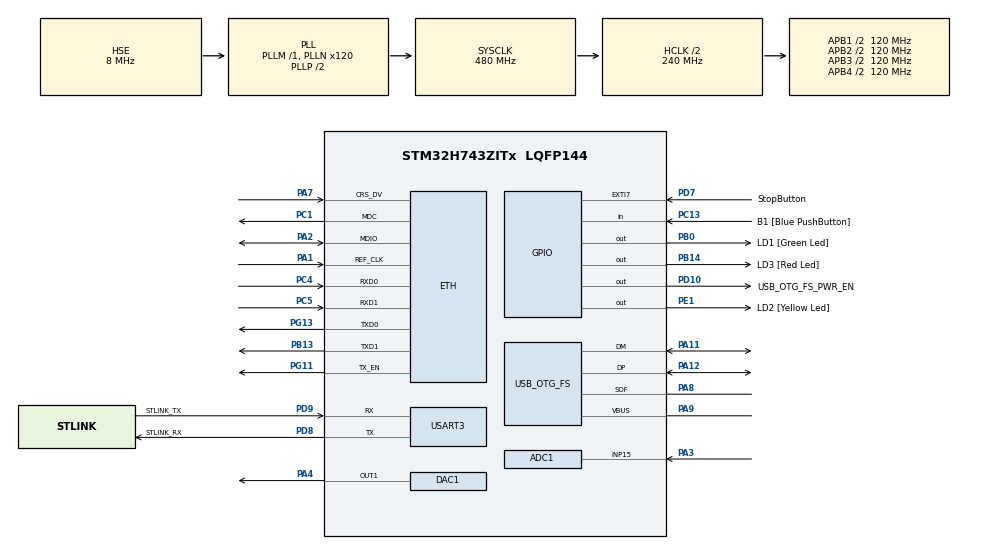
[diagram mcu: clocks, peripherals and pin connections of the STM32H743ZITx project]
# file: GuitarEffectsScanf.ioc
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ADC1.Channel-0\#ChannelRegularConversion=ADC_CHANNEL_15
ADC1.ConversionDataManagement=ADC_CONVERSIONDATA_DMA_CIRCULAR
ADC1.ExternalTrigConv=ADC_EXTERNALTRIG_T1_TRGO
ADC1.NbrOfConversionFlag=1
ADC1.OffsetNumber-0\#ChannelRegularConversion=ADC_OFFSET_NONE
ADC1.OffsetSignedSaturation-0\#ChannelRegularConversion=DISABLE
ADC1.Rank-0\#ChannelRegularConversion=1
ADC1.Resolution=ADC_RESOLUTION_12B
ADC1.SamplingTime-0\#ChannelRegularConversion=ADC_SAMPLETIME_1CYCLE_5
ADC1.master=1
DAC1.DAC_Trigger-DAC_OUT1=DAC_TRIGGER_T1_TRGO
Dma.ADC1.1.Direction=DMA_PERIPH_TO_MEMORY
Dma.ADC1.1.EventEnable=DISABLE
Dma.ADC1.1.FIFOMode=DMA_FIFOMODE_DISABLE
Dma.ADC1.1.Instance=DMA1_Stream1
Dma.ADC1.1.MemDataAlignment=DMA_MDATAALIGN_WORD
Dma.ADC1.1.MemInc=DMA_MINC_ENABLE
Dma.ADC1.1.Mode=DMA_CIRCULAR
Dma.ADC1.1.PeriphDataAlignment=DMA_PDATAALIGN_WORD
Dma.ADC1.1.PeriphInc=DMA_PINC_DISABLE
Dma.ADC1.1.Polarity=HAL_DMAMUX_REQ_GEN_RISING
Dma.ADC1.1.Priority=DMA_PRIORITY_LOW
Dma.ADC1.1.RequestNumber=1
Dma.ADC1.1.SignalID=NONE
Dma.ADC1.1.SyncEnable=DISABLE
Dma.ADC1.1.SyncPolarity=HAL_DMAMUX_SYNC_NO_EVENT
Dma.ADC1.1.SyncRequestNumber=1
Dma.ADC1.1.SyncSignalID=NONE
Dma.DAC1_CH1.2.Direction=DMA_MEMORY_TO_PERIPH
Dma.DAC1_CH1.2.EventEnable=DISABLE
Dma.DAC1_CH1.2.FIFOMode=DMA_FIFOMODE_DISABLE
Dma.DAC1_CH1.2.Instance=DMA1_Stream2
Dma.DAC1_CH1.2.MemDataAlignment=DMA_MDATAALIGN_WORD
Dma.DAC1_CH1.2.MemInc=DMA_MINC_ENABLE
Dma.DAC1_CH1.2.Mode=DMA_CIRCULAR
Dma.DAC1_CH1.2.PeriphDataAlignment=DMA_PDATAALIGN_WORD
Dma.DAC1_CH1.2.PeriphInc=DMA_PINC_DISABLE
Dma.DAC1_CH1.2.Polarity=HAL_DMAMUX_REQ_GEN_RISING
Dma.DAC1_CH1.2.Priority=DMA_PRIORITY_LOW
Dma.DAC1_CH1.2.RequestNumber=1
Dma.DAC1_CH1.2.SignalID=NONE
Dma.DAC1_CH1.2.SyncEnable=DISABLE
Dma.DAC1_CH1.2.SyncPolarity=HAL_DMAMUX_SYNC_NO_EVENT
Dma.DAC1_CH1.2.SyncRequestNumber=1
Dma.DAC1_CH1.2.SyncSignalID=NONE
Dma.Request0=USART3_RX
Dma.Request1=ADC1
Dma.Request2=DAC1_CH1
Dma.USART3_RX.0.Direction=DMA_PERIPH_TO_MEMORY
Dma.USART3_RX.0.EventEnable=DISABLE
Dma.USART3_RX.0.FIFOMode=DMA_FIFOMODE_DISABLE
Dma.USART3_RX.0.Instance=DMA1_Stream0
Dma.USART3_RX.0.MemDataAlignment=DMA_MDATAALIGN_BYTE
Dma.USART3_RX.0.MemInc=DMA_MINC_ENABLE
Dma.USART3_RX.0.Mode=DMA_CIRCULAR
Dma.USART3_RX.0.PeriphDataAlignment=DMA_PDATAALIGN_BYTE
Dma.USART3_RX.0.PeriphInc=DMA_PINC_DISABLE
Dma.USART3_RX.0.Polarity=HAL_DMAMUX_REQ_GEN_RISING
Dma.USART3_RX.0.Priority=DMA_PRIORITY_LOW
Dma.USART3_RX.0.RequestNumber=1
Dma.USART3_RX.0.SignalID=NONE
Dma.USART3_RX.0.SyncEnable=DISABLE
Dma.USART3_RX.0.SyncPolarity=HAL_DMAMUX_SYNC_NO_EVENT
Dma.USART3_RX.0.SyncRequestNumber=1
Dma.USART3_RX.0.SyncSignalID=NONE
ETH.MediaInterface=HAL_ETH_RMII_MODE
Mcu.Family=STM32H7
Mcu.Name=STM32H743ZITx
Mcu.Package=LQFP144
NVIC.DMA1_Stream0_IRQn=true\:0\:0\:false\:false\:true\:false\:true
NVIC.DMA1_Stream1_IRQn=true\:0\:0\:false\:false\:true\:false\:true
NVIC.DMA1_Stream2_IRQn=true\:0\:0\:false\:false\:true\:false\:true
NVIC.EXTI9_5_IRQn=true\:0\:0\:false\:false\:true\:true\:true
NVIC.PriorityGroup=NVIC_PRIORITYGROUP_4
NVIC.USART3_IRQn=true\:0\:0\:false\:false\:true\:true\:true
PA1.Mode=RMII
PA1.Signal=ETH_REF_CLK
PA11.Mode=Device_Only
PA11.Signal=USB_OTG_FS_DM
PA12.Mode=Device_Only
PA12.Signal=USB_OTG_FS_DP
PA2.Mode=RMII
PA2.Signal=ETH_MDIO
PA3.Signal=ADCx_INP15
PA4.Signal=COMP_DAC11_group
PA7.Mode=RMII
PA7.Signal=ETH_CRS_DV
PA8.Mode=Activate_SOF_FS
PA8.Signal=USB_OTG_FS_SOF
PA9.Mode=Activate_VBUS
PA9.Signal=USB_OTG_FS_VBUS
PB0.GPIO_Label=LD1 [Green Led]
PB0.Signal=GPIO_Output
PB13.Mode=RMII
PB13.Signal=ETH_TXD1
PB14.GPIO_Label=LD3 [Red Led]
PB14.Signal=GPIO_Output
PC1.Mode=RMII
PC1.Signal=ETH_MDC
PC13.GPIO_Label=B1 [Blue PushButton]
PC13.Signal=GPIO_Input
PC14-OSC32_IN\ (OSC32_IN).Mode=LSE-External-Oscillator
PC14-OSC32_IN\ (OSC32_IN).Signal=RCC_OSC32_IN
PC15-OSC32_OUT\ (OSC32_OUT).Mode=LSE-External-Oscillator
PC15-OSC32_OUT\ (OSC32_OUT).Signal=RCC_OSC32_OUT
PC4.Mode=RMII
PC4.Signal=ETH_RXD0
PC5.Mode=RMII
PC5.Signal=ETH_RXD1
PD10.GPIO_Label=USB_OTG_FS_PWR_EN
PD10.Signal=GPIO_Output
PD7.GPIO_Label=StopButton
PD7.GPIO_ModeDefaultEXTI=GPIO_MODE_IT_FALLING
PD7.GPIO_PuPd=GPIO_NOPULL
PD7.Signal=GPXTI7
PD8.GPIO_Label=STLINK_RX
PD8.Mode=Asynchronous
PD8.Signal=USART3_TX
PD9.GPIO_Label=STLINK_TX
PD9.Mode=Asynchronous
PD9.Signal=USART3_RX
PE1.GPIO_Label=LD2 [Yellow Led]
PE1.Signal=GPIO_Output
PG11.Mode=RMII
PG11.Signal=ETH_TX_EN
PG13.Mode=RMII
PG13.Signal=ETH_TXD0
PH0-OSC_IN\ (PH0).Mode=HSE-External-Clock-Source
PH0-OSC_IN\ (PH0).Signal=RCC_OSC_IN
PH1-OSC_OUT\ (PH1).Signal=RCC_OSC_OUT
ProjectManager.HeapSize=0x200
ProjectManager.StackSize=0x500
ProjectManager.TargetToolchain=STM32CubeIDE
RCC.ADCFreq_Value=150000000
RCC.APB1Freq_Value=120000000
RCC.APB2Freq_Value=120000000
RCC.APB3Freq_Value=120000000
RCC.APB4Freq_Value=120000000
RCC.CortexFreq_Value=480000000
RCC.D1PPRE=RCC_APB3_DIV2
RCC.D2PPRE1=RCC_APB1_DIV2
RCC.D2PPRE2=RCC_APB2_DIV2
RCC.D3PPRE=RCC_APB4_DIV2
RCC.DIVM1=1
RCC.DIVM2=1
RCC.DIVN1=120
RCC.DIVN2=18
RCC.DIVP2=1
RCC.DIVQ1=20
RCC.HCLKFreq_Value=240000000
RCC.HPRE=RCC_HCLK_DIV2
RCC.HSE_VALUE=8000000
RCC.PLL2FRACN=6144
RCC.PLL3FRACN=0
RCC.PLLFRACN=0
RCC.SYSCLKFreq_VALUE=480000000
RCC.SYSCLKSource=RCC_SYSCLKSOURCE_PLLCLK
RCC.USBFreq_Value=48000000
SH.ADCx_INP15.0=ADC1_INP15,IN15-Single-Ended
SH.COMP_DAC11_group.0=DAC1_OUT1,DAC_OUT1
TIM1.Period=60000-1
TIM1.TIM_MasterOutputTrigger=TIM_TRGO_UPDATE
USART3.VirtualMode-Asynchronous=VM_ASYNC
USB_OTG_FS.VirtualMode=Device_Only
VP_TIM1_VS_ClockSourceINT.Mode=Internal
board=NUCLEO-H743ZI2

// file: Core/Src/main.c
/* USER CODE BEGIN Header */
/**
  ******************************************************************************
  * @file           : main.c
  * @brief          : Main program body
  ******************************************************************************
  * @attention
  *
  * <h2><center>&copy; Copyright (c) 2021 STMicroelectronics.
  * All rights reserved.</center></h2>
  *
  * This software component is licensed by ST under BSD 3-Clause license,
  * the "License"; You may not use this file except in compliance with the
  * License. You may obtain a copy of the License at:
  *                        opensource.org/licenses/BSD-3-Clause
  *
  ******************************************************************************
  */
/* USER CODE END Header */
#include "main.h"
#include "string.h"

/* USER CODE BEGIN Includes */
#include <stdio.h>
#include <math.h>
/* USER CODE END Includes */

#if defined ( __ICCARM__ ) /*!< IAR Compiler */

#pragma location=0x30040000
ETH_DMADescTypeDef  DMARxDscrTab[ETH_RX_DESC_CNT]; /* Ethernet Rx DMA Descriptors */
#pragma location=0x30040060
ETH_DMADescTypeDef  DMATxDscrTab[ETH_TX_DESC_CNT]; /* Ethernet Tx DMA Descriptors */
#pragma location=0x30040200
uint8_t Rx_Buff[ETH_RX_DESC_CNT][ETH_MAX_PACKET_SIZE]; /* Ethernet Receive Buffers */

#elif defined ( __CC_ARM )  /* MDK ARM Compiler */

__attribute__((at(0x30040000))) ETH_DMADescTypeDef  DMARxDscrTab[ETH_RX_DESC_CNT]; /* Ethernet Rx DMA Descriptors */
__attribute__((at(0x30040060))) ETH_DMADescTypeDef  DMATxDscrTab[ETH_TX_DESC_CNT]; /* Ethernet Tx DMA Descriptors */
__attribute__((at(0x30040200))) uint8_t Rx_Buff[ETH_RX_DESC_CNT][ETH_MAX_PACKET_SIZE]; /* Ethernet Receive Buffer */

#elif defined ( __GNUC__ ) /* GNU Compiler */

ETH_DMADescTypeDef DMARxDscrTab[ETH_RX_DESC_CNT] __attribute__((section(".RxDecripSection"))); /* Ethernet Rx DMA Descriptors */
ETH_DMADescTypeDef DMATxDscrTab[ETH_TX_DESC_CNT] __attribute__((section(".TxDecripSection")));   /* Ethernet Tx DMA Descriptors */
uint8_t Rx_Buff[ETH_RX_DESC_CNT][ETH_MAX_PACKET_SIZE] __attribute__((section(".RxArraySection"))); /* Ethernet Receive Buffers */

#endif

ETH_TxPacketConfig TxConfig;
ADC_HandleTypeDef hadc1;
DMA_HandleTypeDef hdma_adc1;

DAC_HandleTypeDef hdac1;
DMA_HandleTypeDef hdma_dac1_ch1;

ETH_HandleTypeDef heth;

TIM_HandleTypeDef htim1;

UART_HandleTypeDef huart3;
DMA_HandleTypeDef hdma_usart3_rx;

PCD_HandleTypeDef hpcd_USB_OTG_FS;

void SystemClock_Config(void);
static void MX_GPIO_Init(void);
static void MX_DMA_Init(void);
static void MX_ETH_Init(void);
static void MX_USART3_UART_Init(void);
static void MX_USB_OTG_FS_PCD_Init(void);
static void MX_ADC1_Init(void);
static void MX_DAC1_Init(void);
static void MX_TIM1_Init(void);
/* USER CODE BEGIN PFP */
#ifdef __GNUC__
/* With GCC, small printf (option LD Linker->Libraries->Small printf
   set to 'Yes') calls __io_putchar() */
#define PUTCHAR_PROTOTYPE int __io_putchar(int ch)
#else
#define PUTCHAR_PROTOTYPE int fputc(int ch, FILE *f)
#endif /* __GNUC__ */

#ifdef __GNUC__
#define GETCHAR_PROTOTYPE int __io_getchar (void)
#else
#define GETCHAR_PROTOTYPE int fgetc(FILE * f)
#endif /* __GNUC__ */

void Test_Validation_Menu(void);
/* USER CODE END PFP */

/* USER CODE BEGIN 0 */
#define max(a,b) \
  ({ __typeof__ (a) _a = (a); \
      __typeof__ (b) _b = (b); \
    _a > _b ? _a : _b; })

int button_state = 0;
uint32_t* inBufPtr;
uint32_t* outBufPtr;
uint32_t* delayPtr;
uint32_t* delayPtrWrite;
uint32_t* delayPtrRead;
#define DataSize 512
#define BufferSize DataSize*2
#define PI 3.141592653589793238
volatile int ADCbuff_Half = 0;
volatile int ADCbuff_Full = 0;
volatile int DACbuff_Half = 0;
volatile int DACbuff_Full = 0;
volatile int DelayState = 0;

uint32_t adc_buff[BufferSize] = {0};
uint32_t dac_buff[BufferSize] = {0};
uint32_t delay_buff[BufferSize*3] = {0};

char name[5] = "START";

void effectfunc(int e1,int e2, int e3, int e4){

	// First Half Buffer
		if(ADCbuff_Half && DACbuff_Half){

			inBufPtr = &adc_buff[0];
			outBufPtr = &dac_buff[DataSize];

			if(DelayState == 0){
				delayPtrRead = &delay_buff[0];
				delayPtrWrite= &delay_buff[2*BufferSize];
			}
			else if (DelayState == 1){
				delayPtrRead = &delay_buff[BufferSize];
				delayPtrWrite= &delay_buff[0];
			}
			else if(DelayState == 2){
				delayPtrRead = &delay_buff[(2*BufferSize)];
				delayPtrWrite= &delay_buff[BufferSize];
			}

			ADCbuff_Half = 0;
			DACbuff_Half = 0;
		}
		// Second Half Buffer
		else if(ADCbuff_Full && DACbuff_Full){
			inBufPtr = &adc_buff[DataSize];
			outBufPtr = &dac_buff[0];

			if(DelayState == 0){
				delayPtrRead = &delay_buff[DataSize];
				delayPtrWrite= &delay_buff[2*BufferSize+DataSize];
			}
			else if (DelayState == 1){
				delayPtrRead = &delay_buff[BufferSize+DataSize];
				delayPtrWrite= &delay_buff[DataSize];
			}
			else if (DelayState == 2){
				delayPtrRead = &delay_buff[(2*BufferSize+DataSize)];
				delayPtrWrite= &delay_buff[BufferSize+DataSize];
			}

			ADCbuff_Full = 0;
			DACbuff_Full = 0;
		}

		for(int i = 0; i < DataSize; i++){
			// Clean
			outBufPtr[i] = inBufPtr[i]*1.05;

			// Distortion
			if(e4){
				//outBufPtr[i] = 1;
				//for(int idx = 0; idx < 20; idx++){
				//	outBufPtr[i] += ((pow((-sgn_func(outBufPtr[i])*0.1*outBufPtr[i]), idx))/factorial_func(idx));
				//}
				outBufPtr[i] = 0.1*(sgn_func(outBufPtr[i]) * (1 - exp(sgn_func(0.1*outBufPtr[i])*outBufPtr[i])));
			}

			// Tremolo
			if(e1){
				outBufPtr[i] = max(0,sin(2*PI*i/1024))*outBufPtr[i];
			}

			if( !e3 && ((e2 && e1)||(e2 && e4) || (e2)) ){
				delayPtrWrite[i] = outBufPtr[i];
			}

			// Delay
			if(e2 || e3){
				outBufPtr[i] = 0.75*outBufPtr[i] + 0.5*delayPtrRead[i];
			}

			if ((e2 && e3) || e3){
				delayPtrWrite[i] = outBufPtr[i];
			}

		}

}
void tremolo(){
	// First Half
	if(ADCbuff_Half && DACbuff_Half){
		//pointer math
		inBufPtr = &adc_buff[0];
		outBufPtr = &dac_buff[DataSize];
		for(int i = 0; i < DataSize; i++){
			outBufPtr[i] = max(0,sin(2*PI*i/512))*inBufPtr[i];
		}
		ADCbuff_Half = 0;
		DACbuff_Half = 0;
	}
	// Second Half
	else if(ADCbuff_Full && DACbuff_Full){
		// pointer math
		inBufPtr = &adc_buff[DataSize];
		outBufPtr = &dac_buff[0];

		for(int i = 0; i < DataSize; i++){
		outBufPtr[i] = max(0,sin(2*PI*i/512))*inBufPtr[i];
		}
		ADCbuff_Full = 0;
		DACbuff_Full = 0;
	}

}

void clean(){
	// First Half
	if(ADCbuff_Half && DACbuff_Half){
		//pointer math
		inBufPtr = &adc_buff[0];
		outBufPtr = &dac_buff[DataSize];
		for(int i = 0; i < DataSize; i++){
			outBufPtr[i] = inBufPtr[i];
		}
		ADCbuff_Half = 0;
		DACbuff_Half = 0;
	}
	// Second Half
	else if(ADCbuff_Full && DACbuff_Full){
		// pointer math
		inBufPtr = &adc_buff[DataSize];
		outBufPtr = &dac_buff[0];

		for(int i = 0; i < DataSize; i++){
		outBufPtr[i] = inBufPtr[i];
		}
		ADCbuff_Full = 0;
		DACbuff_Full = 0;

	}
}
void distortion_exp(){
	int G = 0.7;
	double low_gain = 1.05;
	double hi_gain = 1.35;
	double hithresh = 2200;
	double lowthresh  = 1850;

	if(ADCbuff_Half && DACbuff_Half){
			//pointer math
			inBufPtr = &adc_buff[0];
			outBufPtr = &dac_buff[DataSize];
			for(int i = 0; i < DataSize; i++)
				{
					if(adc_buff[i] < lowthresh)
						outBufPtr[i] = hi_gain*inBufPtr[i];
					else if(adc_buff[i] > hithresh)
						outBufPtr[i] = inBufPtr[i];
					else
						outBufPtr[i] = low_gain*inBufPtr[i];

				}
			ADCbuff_Half = 0;
			DACbuff_Half = 0;
		}
		// Second Half
		else if(ADCbuff_Full && DACbuff_Full){
			// pointer math
			inBufPtr = &adc_buff[DataSize];
			outBufPtr = &dac_buff[0];

			for(int i = 0; i < DataSize; i++)
				{
					if(adc_buff[i] < lowthresh)
						outBufPtr[i] = hi_gain*inBufPtr[i]*0.5;
					else if(adc_buff[i] > hithresh)
						outBufPtr[i] = inBufPtr[i];
					else
						outBufPtr[i] = low_gain*inBufPtr[i];

				}
			ADCbuff_Full = 0;
			DACbuff_Full = 0;

		}

}
void delay(){

	// First Half Buffer
	if(ADCbuff_Half && DACbuff_Half){

		inBufPtr = &adc_buff[0];
		outBufPtr = &dac_buff[DataSize];

		if(DelayState == 0){
			delayPtrRead = &delay_buff[0];
			delayPtrWrite= &delay_buff[2*BufferSize];
		}
		else if (DelayState == 1){
			delayPtrRead = &delay_buff[BufferSize];
			delayPtrWrite= &delay_buff[0];
		}
		else if(DelayState == 2){
			delayPtrRead = &delay_buff[(2*BufferSize)];
			delayPtrWrite= &delay_buff[BufferSize];
		}

		for(int i = 0; i < DataSize; i++){
			delayPtrWrite[i] = outBufPtr[i];
			outBufPtr[i] = 0.75*inBufPtr[i] + 0.5*delayPtrRead[i];//+ 0.6*delayPtr[i]+ 0.45*delayPtrHalf[i];
		}

		ADCbuff_Half = 0;
		DACbuff_Half = 0;
	}
	// Second Half Buffer
	else if(ADCbuff_Full && DACbuff_Full){
		inBufPtr = &adc_buff[DataSize];
		outBufPtr = &dac_buff[0];

		if(DelayState == 0){
			delayPtrRead = &delay_buff[DataSize];
			delayPtrWrite= &delay_buff[2*BufferSize+DataSize];
		}
		else if (DelayState == 1){
			delayPtrRead = &delay_buff[BufferSize+DataSize];
			delayPtrWrite= &delay_buff[DataSize];
		}
		else if (DelayState == 2){
			delayPtrRead = &delay_buff[(2*BufferSize+DataSize)];
			delayPtrWrite= &delay_buff[BufferSize+DataSize];
		}

		for(int i = 0; i < DataSize; i++){
			delayPtrWrite[i] = outBufPtr[i];
			outBufPtr[i] = 0.75*inBufPtr[i] + 0.5*delayPtrRead[i];
		}

		ADCbuff_Full = 0;
		DACbuff_Full = 0;
	}

}

int sgn_func(uint32_t val) {
    return (2550 < val) - (val < 2550);
}
int factorial_func(int n)
{
    if (n == 0)
        return 1;
    return n * factorial_func(n - 1);
}

/* USER CODE END 0 */

int main(void)
{

  /* MCU Configuration--------------------------------------------------------*/

  /* Reset of all peripherals, Initializes the Flash interface and the Systick. */
  HAL_Init();

  /* Configure the system clock */
  SystemClock_Config();

  /* Initialize all configured peripherals */
  MX_GPIO_Init();
  MX_DMA_Init();
  MX_ETH_Init();
  MX_USART3_UART_Init();
  MX_USB_OTG_FS_PCD_Init();
  MX_ADC1_Init();
  MX_DAC1_Init();
  MX_TIM1_Init();
  /* USER CODE BEGIN 2 */

  fflush(stdout);
  printf("\r\n");
  printf("\r\n*********************************************\r\n");
  printf("\r\n** EE 113 Design: Guitar Effects Processor **\r\n");
  printf("\r\n*********************************************\r\n");

  printf("\r\n");

  printf("\r\n    ** Press s to Start!!! \r\n");
  while (name[0] != 's')
  	  {
        Serial_Scanf(name, 1);
        if (name[0] != 's')
          {
          printf("\r\n !!! Invalid Character, please press s to Start !!! \r\n");
          }
      }
  Menu();

  printf("\r\n");
  printf("\r\n********************************************");
  printf("\r\n** Thank you for using Guitar Effects Processor By Edward and Nick **");
  printf("\r\n********************************************\r\n");
  /* USER CODE END 2 */

  /* Infinite loop */
  while (1)
  {

  }
}

void SystemClock_Config(void)
{
  RCC_OscInitTypeDef RCC_OscInitStruct = {0};
  RCC_ClkInitTypeDef RCC_ClkInitStruct = {0};
  RCC_PeriphCLKInitTypeDef PeriphClkInitStruct = {0};

  /** Supply configuration update enable
  */
  HAL_PWREx_ConfigSupply(PWR_LDO_SUPPLY);
  /** Configure the main internal regulator output voltage
  */
  __HAL_PWR_VOLTAGESCALING_CONFIG(PWR_REGULATOR_VOLTAGE_SCALE0);

  while(!__HAL_PWR_GET_FLAG(PWR_FLAG_VOSRDY)) {}
  /** Macro to configure the PLL clock source
  */
  __HAL_RCC_PLL_PLLSOURCE_CONFIG(RCC_PLLSOURCE_HSE);
  /** Initializes the RCC Oscillators according to the specified parameters
  * in the RCC_OscInitTypeDef structure.
  */
  RCC_OscInitStruct.OscillatorType = RCC_OSCILLATORTYPE_HSE;
  RCC_OscInitStruct.HSEState = RCC_HSE_BYPASS;
  RCC_OscInitStruct.PLL.PLLState = RCC_PLL_ON;
  RCC_OscInitStruct.PLL.PLLSource = RCC_PLLSOURCE_HSE;
  RCC_OscInitStruct.PLL.PLLM = 1;
  RCC_OscInitStruct.PLL.PLLN = 120;
  RCC_OscInitStruct.PLL.PLLP = 2;
  RCC_OscInitStruct.PLL.PLLQ = 20;
  RCC_OscInitStruct.PLL.PLLR = 2;
  RCC_OscInitStruct.PLL.PLLRGE = RCC_PLL1VCIRANGE_3;
  RCC_OscInitStruct.PLL.PLLVCOSEL = RCC_PLL1VCOWIDE;
  RCC_OscInitStruct.PLL.PLLFRACN = 0;
  if (HAL_RCC_OscConfig(&RCC_OscInitStruct) != HAL_OK)
  {
    Error_Handler();
  }
  /** Initializes the CPU, AHB and APB buses clocks
  */
  RCC_ClkInitStruct.ClockType = RCC_CLOCKTYPE_HCLK|RCC_CLOCKTYPE_SYSCLK
                              |RCC_CLOCKTYPE_PCLK1|RCC_CLOCKTYPE_PCLK2
                              |RCC_CLOCKTYPE_D3PCLK1|RCC_CLOCKTYPE_D1PCLK1;
  RCC_ClkInitStruct.SYSCLKSource = RCC_SYSCLKSOURCE_PLLCLK;
  RCC_ClkInitStruct.SYSCLKDivider = RCC_SYSCLK_DIV1;
  RCC_ClkInitStruct.AHBCLKDivider = RCC_HCLK_DIV2;
  RCC_ClkInitStruct.APB3CLKDivider = RCC_APB3_DIV2;
  RCC_ClkInitStruct.APB1CLKDivider = RCC_APB1_DIV2;
  RCC_ClkInitStruct.APB2CLKDivider = RCC_APB2_DIV2;
  RCC_ClkInitStruct.APB4CLKDivider = RCC_APB4_DIV2;

  if (HAL_RCC_ClockConfig(&RCC_ClkInitStruct, FLASH_LATENCY_4) != HAL_OK)
  {
    Error_Handler();
  }
  PeriphClkInitStruct.PeriphClockSelection = RCC_PERIPHCLK_USART3|RCC_PERIPHCLK_ADC
                              |RCC_PERIPHCLK_USB;
  PeriphClkInitStruct.PLL2.PLL2M = 1;
  PeriphClkInitStruct.PLL2.PLL2N = 18;
  PeriphClkInitStruct.PLL2.PLL2P = 1;
  PeriphClkInitStruct.PLL2.PLL2Q = 2;
  PeriphClkInitStruct.PLL2.PLL2R = 2;
  PeriphClkInitStruct.PLL2.PLL2RGE = RCC_PLL2VCIRANGE_3;
  PeriphClkInitStruct.PLL2.PLL2VCOSEL = RCC_PLL2VCOMEDIUM;
  PeriphClkInitStruct.PLL2.PLL2FRACN = 6144;
  PeriphClkInitStruct.Usart234578ClockSelection = RCC_USART234578CLKSOURCE_D2PCLK1;
  PeriphClkInitStruct.UsbClockSelection = RCC_USBCLKSOURCE_PLL;
  PeriphClkInitStruct.AdcClockSelection = RCC_ADCCLKSOURCE_PLL2;
  if (HAL_RCCEx_PeriphCLKConfig(&PeriphClkInitStruct) != HAL_OK)
  {
    Error_Handler();
  }
  /** Enable USB Voltage detector
  */
  HAL_PWREx_EnableUSBVoltageDetector();
}

static void MX_ADC1_Init(void)
{

  ADC_MultiModeTypeDef multimode = {0};
  ADC_ChannelConfTypeDef sConfig = {0};

  /** Common config
  */
  hadc1.Instance = ADC1;
  hadc1.Init.ClockPrescaler = ADC_CLOCK_ASYNC_DIV1;
  hadc1.Init.Resolution = ADC_RESOLUTION_12B;
  hadc1.Init.ScanConvMode = ADC_SCAN_DISABLE;
  hadc1.Init.EOCSelection = ADC_EOC_SINGLE_CONV;
  hadc1.Init.LowPowerAutoWait = DISABLE;
  hadc1.Init.ContinuousConvMode = DISABLE;
  hadc1.Init.NbrOfConversion = 1;
  hadc1.Init.DiscontinuousConvMode = DISABLE;
  hadc1.Init.ExternalTrigConv = ADC_EXTERNALTRIG_T1_TRGO;
  hadc1.Init.ExternalTrigConvEdge = ADC_EXTERNALTRIGCONVEDGE_RISING;
  hadc1.Init.ConversionDataManagement = ADC_CONVERSIONDATA_DMA_CIRCULAR;
  hadc1.Init.Overrun = ADC_OVR_DATA_PRESERVED;
  hadc1.Init.LeftBitShift = ADC_LEFTBITSHIFT_NONE;
  hadc1.Init.OversamplingMode = DISABLE;
  if (HAL_ADC_Init(&hadc1) != HAL_OK)
  {
    Error_Handler();
  }
  /** Configure the ADC multi-mode
  */
  multimode.Mode = ADC_MODE_INDEPENDENT;
  if (HAL_ADCEx_MultiModeConfigChannel(&hadc1, &multimode) != HAL_OK)
  {
    Error_Handler();
  }
  /** Configure Regular Channel
  */
  sConfig.Channel = ADC_CHANNEL_15;
  sConfig.Rank = ADC_REGULAR_RANK_1;
  sConfig.SamplingTime = ADC_SAMPLETIME_1CYCLE_5;
  sConfig.SingleDiff = ADC_SINGLE_ENDED;
  sConfig.OffsetNumber = ADC_OFFSET_NONE;
  sConfig.Offset = 0;
  sConfig.OffsetSignedSaturation = DISABLE;
  if (HAL_ADC_ConfigChannel(&hadc1, &sConfig) != HAL_OK)
  {
    Error_Handler();
  }

}

static void MX_DAC1_Init(void)
{

  DAC_ChannelConfTypeDef sConfig = {0};

  /** DAC Initialization
  */
  hdac1.Instance = DAC1;
  if (HAL_DAC_Init(&hdac1) != HAL_OK)
  {
    Error_Handler();
  }
  /** DAC channel OUT1 config
  */
  sConfig.DAC_SampleAndHold = DAC_SAMPLEANDHOLD_DISABLE;
  sConfig.DAC_Trigger = DAC_TRIGGER_T1_TRGO;
  sConfig.DAC_OutputBuffer = DAC_OUTPUTBUFFER_ENABLE;
  sConfig.DAC_ConnectOnChipPeripheral = DAC_CHIPCONNECT_DISABLE;
  sConfig.DAC_UserTrimming = DAC_TRIMMING_FACTORY;
  if (HAL_DAC_ConfigChannel(&hdac1, &sConfig, DAC_CHANNEL_1) != HAL_OK)
  {
    Error_Handler();
  }

}

static void MX_ETH_Init(void)
{

  heth.Instance = ETH;
  heth.Init.MACAddr[0] =   0x00;
  heth.Init.MACAddr[1] =   0x80;
  heth.Init.MACAddr[2] =   0xE1;
  heth.Init.MACAddr[3] =   0x00;
  heth.Init.MACAddr[4] =   0x00;
  heth.Init.MACAddr[5] =   0x00;
  heth.Init.MediaInterface = HAL_ETH_RMII_MODE;
  heth.Init.TxDesc = DMATxDscrTab;
  heth.Init.RxDesc = DMARxDscrTab;
  heth.Init.RxBuffLen = 1524;

  if (HAL_ETH_Init(&heth) != HAL_OK)
  {
    Error_Handler();
  }

  memset(&TxConfig, 0 , sizeof(ETH_TxPacketConfig));
  TxConfig.Attributes = ETH_TX_PACKETS_FEATURES_CSUM | ETH_TX_PACKETS_FEATURES_CRCPAD;
  TxConfig.ChecksumCtrl = ETH_CHECKSUM_IPHDR_PAYLOAD_INSERT_PHDR_CALC;
  TxConfig.CRCPadCtrl = ETH_CRC_PAD_INSERT;

}

static void MX_TIM1_Init(void)
{

  TIM_ClockConfigTypeDef sClockSourceConfig = {0};
  TIM_MasterConfigTypeDef sMasterConfig = {0};

  htim1.Instance = TIM1;
  htim1.Init.Prescaler = 0;
  htim1.Init.CounterMode = TIM_COUNTERMODE_UP;
  htim1.Init.Period = 60000-1;
  htim1.Init.ClockDivision = TIM_CLOCKDIVISION_DIV1;
  htim1.Init.RepetitionCounter = 0;
  htim1.Init.AutoReloadPreload = TIM_AUTORELOAD_PRELOAD_DISABLE;
  if (HAL_TIM_Base_Init(&htim1) != HAL_OK)
  {
    Error_Handler();
  }
  sClockSourceConfig.ClockSource = TIM_CLOCKSOURCE_INTERNAL;
  if (HAL_TIM_ConfigClockSource(&htim1, &sClockSourceConfig) != HAL_OK)
  {
    Error_Handler();
  }
  sMasterConfig.MasterOutputTrigger = TIM_TRGO_UPDATE;
  sMasterConfig.MasterOutputTrigger2 = TIM_TRGO2_RESET;
  sMasterConfig.MasterSlaveMode = TIM_MASTERSLAVEMODE_DISABLE;
  if (HAL_TIMEx_MasterConfigSynchronization(&htim1, &sMasterConfig) != HAL_OK)
  {
    Error_Handler();
  }

}

static void MX_USART3_UART_Init(void)
{

  huart3.Instance = USART3;
  huart3.Init.BaudRate = 115200;
  huart3.Init.WordLength = UART_WORDLENGTH_8B;
  huart3.Init.StopBits = UART_STOPBITS_1;
  huart3.Init.Parity = UART_PARITY_NONE;
  huart3.Init.Mode = UART_MODE_TX_RX;
  huart3.Init.HwFlowCtl = UART_HWCONTROL_NONE;
  huart3.Init.OverSampling = UART_OVERSAMPLING_16;
  huart3.Init.OneBitSampling = UART_ONE_BIT_SAMPLE_DISABLE;
  huart3.Init.ClockPrescaler = UART_PRESCALER_DIV1;
  huart3.AdvancedInit.AdvFeatureInit = UART_ADVFEATURE_NO_INIT;
  if (HAL_UART_Init(&huart3) != HAL_OK)
  {
    Error_Handler();
  }
  if (HAL_UARTEx_SetTxFifoThreshold(&huart3, UART_TXFIFO_THRESHOLD_1_8) != HAL_OK)
  {
    Error_Handler();
  }
  if (HAL_UARTEx_SetRxFifoThreshold(&huart3, UART_RXFIFO_THRESHOLD_1_8) != HAL_OK)
  {
    Error_Handler();
  }
  if (HAL_UARTEx_DisableFifoMode(&huart3) != HAL_OK)
  {
    Error_Handler();
  }

}

static void MX_USB_OTG_FS_PCD_Init(void)
{

  hpcd_USB_OTG_FS.Instance = USB_OTG_FS;
  hpcd_USB_OTG_FS.Init.dev_endpoints = 9;
  hpcd_USB_OTG_FS.Init.speed = PCD_SPEED_FULL;
  hpcd_USB_OTG_FS.Init.dma_enable = DISABLE;
  hpcd_USB_OTG_FS.Init.phy_itface = PCD_PHY_EMBEDDED;
  hpcd_USB_OTG_FS.Init.Sof_enable = ENABLE;
  hpcd_USB_OTG_FS.Init.low_power_enable = DISABLE;
  hpcd_USB_OTG_FS.Init.lpm_enable = DISABLE;
  hpcd_USB_OTG_FS.Init.battery_charging_enable = ENABLE;
  hpcd_USB_OTG_FS.Init.vbus_sensing_enable = ENABLE;
  hpcd_USB_OTG_FS.Init.use_dedicated_ep1 = DISABLE;
  if (HAL_PCD_Init(&hpcd_USB_OTG_FS) != HAL_OK)
  {
    Error_Handler();
  }

}

static void MX_DMA_Init(void)
{

  /* DMA controller clock enable */
  __HAL_RCC_DMA1_CLK_ENABLE();

  /* DMA interrupt init */
  /* DMA1_Stream0_IRQn interrupt configuration */
  HAL_NVIC_SetPriority(DMA1_Stream0_IRQn, 0, 0);
  HAL_NVIC_EnableIRQ(DMA1_Stream0_IRQn);
  /* DMA1_Stream1_IRQn interrupt configuration */
  HAL_NVIC_SetPriority(DMA1_Stream1_IRQn, 0, 0);
  HAL_NVIC_EnableIRQ(DMA1_Stream1_IRQn);
  /* DMA1_Stream2_IRQn interrupt configuration */
  HAL_NVIC_SetPriority(DMA1_Stream2_IRQn, 0, 0);
  HAL_NVIC_EnableIRQ(DMA1_Stream2_IRQn);

}

static void MX_GPIO_Init(void)
{
  GPIO_InitTypeDef GPIO_InitStruct = {0};

  /* GPIO Ports Clock Enable */
  __HAL_RCC_GPIOC_CLK_ENABLE();
  __HAL_RCC_GPIOH_CLK_ENABLE();
  __HAL_RCC_GPIOA_CLK_ENABLE();
  __HAL_RCC_GPIOB_CLK_ENABLE();
  __HAL_RCC_GPIOD_CLK_ENABLE();
  __HAL_RCC_GPIOG_CLK_ENABLE();
  __HAL_RCC_GPIOE_CLK_ENABLE();

  /*Configure GPIO pin Output Level */
  HAL_GPIO_WritePin(GPIOB, LD1_Pin|LD3_Pin, GPIO_PIN_RESET);

  /*Configure GPIO pin Output Level */
  HAL_GPIO_WritePin(USB_OTG_FS_PWR_EN_GPIO_Port, USB_OTG_FS_PWR_EN_Pin, GPIO_PIN_RESET);

  /*Configure GPIO pin Output Level */
  HAL_GPIO_WritePin(LD2_GPIO_Port, LD2_Pin, GPIO_PIN_RESET);

  /*Configure GPIO pin : B1_Pin */
  GPIO_InitStruct.Pin = B1_Pin;
  GPIO_InitStruct.Mode = GPIO_MODE_INPUT;
  GPIO_InitStruct.Pull = GPIO_NOPULL;
  HAL_GPIO_Init(B1_GPIO_Port, &GPIO_InitStruct);

  /*Configure GPIO pins : LD1_Pin LD3_Pin */
  GPIO_InitStruct.Pin = LD1_Pin|LD3_Pin;
  GPIO_InitStruct.Mode = GPIO_MODE_OUTPUT_PP;
  GPIO_InitStruct.Pull = GPIO_NOPULL;
  GPIO_InitStruct.Speed = GPIO_SPEED_FREQ_LOW;
  HAL_GPIO_Init(GPIOB, &GPIO_InitStruct);

  /*Configure GPIO pin : USB_OTG_FS_PWR_EN_Pin */
  GPIO_InitStruct.Pin = USB_OTG_FS_PWR_EN_Pin;
  GPIO_InitStruct.Mode = GPIO_MODE_OUTPUT_PP;
  GPIO_InitStruct.Pull = GPIO_NOPULL;
  GPIO_InitStruct.Speed = GPIO_SPEED_FREQ_LOW;
  HAL_GPIO_Init(USB_OTG_FS_PWR_EN_GPIO_Port, &GPIO_InitStruct);

  /*Configure GPIO pin : StopButton_Pin */
  GPIO_InitStruct.Pin = StopButton_Pin;
  GPIO_InitStruct.Mode = GPIO_MODE_IT_FALLING;
  GPIO_InitStruct.Pull = GPIO_NOPULL;
  HAL_GPIO_Init(StopButton_GPIO_Port, &GPIO_InitStruct);

  /*Configure GPIO pin : LD2_Pin */
  GPIO_InitStruct.Pin = LD2_Pin;
  GPIO_InitStruct.Mode = GPIO_MODE_OUTPUT_PP;
  GPIO_InitStruct.Pull = GPIO_NOPULL;
  GPIO_InitStruct.Speed = GPIO_SPEED_FREQ_LOW;
  HAL_GPIO_Init(LD2_GPIO_Port, &GPIO_InitStruct);

  /* EXTI interrupt init*/
  HAL_NVIC_SetPriority(EXTI9_5_IRQn, 0, 0);
  HAL_NVIC_EnableIRQ(EXTI9_5_IRQn);

}

/* USER CODE BEGIN 4 */

int Serial_Scanf(char *ptr, int len)
{

  int DataIdx = 0;
  uint8_t thechar;
  thechar= ' ';
  while(thechar!= '\n' && thechar != '\r' && DataIdx<len)
  {
#ifdef __GNUC__
    thechar = __io_getchar();

#else
    thechar = fgetc(NULL);
#endif
  if ( thechar  >= 0xFF)
  {
    printf("\n\r  !!! Please enter a valid ASCII character \n");
    return 0xFF;
  }
  *ptr++ =thechar;
  DataIdx+=1;
  }
  return DataIdx;
}
/**
  * @brief  Retargets the C library printf function to the USART.
  * @param  None
  * @retval None
  */

PUTCHAR_PROTOTYPE
{
  /* Place your implementation of fputc here */
  /* e.g. write a character to the USART3 and Loop until the end of transmission */
  HAL_UART_Transmit(&huart3, (uint8_t *)&ch, 1, 0xFFFF);
  //HAL_Delay(1);
  return ch;
}

GETCHAR_PROTOTYPE
{
  uint8_t ch = 0;
  /* Clear the Overrun flag just before receiving the first character */
  __HAL_UART_CLEAR_OREFLAG(&huart3);
  HAL_Delay(20);

  HAL_UART_Receive(&huart3, (uint8_t *)&ch, 1, 0xFFFF);
  HAL_Delay(20);

  HAL_UART_Transmit(&huart3, (uint8_t *)&ch, 1, 0xFFFF);
  HAL_Delay(20);

  return ch;
}

void Menu(void)
{
  int menu_option = 0;
  uint8_t stop_test = 0;

  char menu_select[5];
  char menu1[] ="1";
  char menu2[] ="2";
  char menu3[] ="3";
  char menu4[] ="4";
  char menu5[] ="5";
  char menu6[] ="6";
  int e1 = 0;
  int e2 = 0;
  int e3 = 0;
  int e4 = 0;

  char menu_init[] ="0";

  if(HAL_ADCEx_Calibration_Start(&hadc1, ADC_CALIB_OFFSET,ADC_SINGLE_ENDED) != HAL_OK){
      	  Error_Handler();
    }
  HAL_TIM_Base_Start(&htim1);
  HAL_ADC_Start_DMA(&hadc1, (uint32_t *) adc_buff, BufferSize) ;
  HAL_DAC_Start_DMA(&hdac1, DAC_CHANNEL_1, (uint32_t*) dac_buff, BufferSize, DAC_ALIGN_12B_R);

  printf("\r\n\r\n   Menu Options:");
  printf("\r\n      1: Tremolo");
  printf("   2: Delay");
  printf("   3: Multi-Delay");
  printf("   4: Distortion");
  printf("   5: Play");
  printf("   6: Exit \r\n");

  do
  {
    strcpy(menu_select, menu_init);
    int menu_option=0;

    menu_option = Serial_Scanf(menu_select,1);

    printf("\r\n\r\n   Menu Options:");
    printf("\r\n      1: Tremolo");
    printf("   2: Single-Delay");
    printf("   3: Multi-Delay");
    printf("   4: Distortion");
    printf("   5: Play");
    printf("   6: Exit \r\n");
/* CASE '1' selected */
    if(strncmp(menu_select, menu1, menu_option) == 0)
    {
        printf("\r\n          ** Tremolo Toggled **\r\n");
        e1 ^= 1;

    }

/* CASE '2' selected */
    else if(strncmp(menu_select, menu2, menu_option) == 0)
    {
        printf("\r\n          ** Single-Delay Toggled **\r\n");
        e2 ^= 1;

    }

/* CASE '3' selected */
    else if(strncmp(menu_select, menu3, menu_option) == 0)
    {
    	printf("\r\n          ** Multi-Delay Toggled **\r\n");
    	e3 ^= 1;

    }
/* CASE '4' selected */
    else if(strncmp(menu_select, menu4, menu_option) == 0)
    {
    	printf("\r\n          ** Distortion Toggled **\r\n");
    	e4 ^= 1;

    }
/* CASE '5' selected */
    else if(strncmp(menu_select, menu5, menu_option) == 0)
    {

    }

/* CASE 'Exit' selected */
    else if(strncmp(menu_select, menu6, menu_option) == 0)
    {
        printf("\n\r          >> Effect processor shutdown. <<\n\r");
        stop_test=1;
    }

/* CASE wrong selection */
    else
    {
        printf("\r\n                !! INVALID CHOICE\r\n");
    }

    printf("\r\n");
    printf("\r\nSettings:      Tremolo: %d",e1);
    printf("   Single-Delay: %d",e2);
    printf("   Multi-Delay: %d",e3);
    printf("   Distortion: %d\r\n",e4);

if (button_state){
	printf("\r\n Playing: Click Button to Change Selections\r\n");
	while(button_state){
		effectfunc(e1,e2,e3,e4);
	}
	printf("\r\n\r\n   Menu Options:");
	printf("\r\n      1: Tremolo");
	printf("   2: Single-Delay");
	printf("   3: Multi-Delay");
	printf("   4: Distortion");
	printf("   5: Play");
	printf("   6: Exit \r\n");
}
else if (!button_state){
	printf("\r\n Click Button and then Select 5 to Start Playback\r\n");
}

  } while (stop_test != 1);
}

void HAL_GPIO_EXTI_Callback(uint16_t GPIO_Pin){
	if(GPIO_Pin == StopButton_Pin){ //check interrupt for specific pin
		button_state ^= 1;
		memset(adc_buff,0,sizeof(adc_buff));
		memset(dac_buff,0,sizeof(dac_buff));
	}
}

void HAL_DAC_ConvCpltCallbackCh1(DAC_HandleTypeDef *hdac)
{
	DACbuff_Full = 1;
}

void HAL_DAC_ConvHalfCpltCallbackCh1(DAC_HandleTypeDef *hdac)
{
	DACbuff_Half = 1;

}

void HAL_ADC_ConvCpltCallback(ADC_HandleTypeDef *hadc)
{
	ADCbuff_Full = 1;
	DelayState = (DelayState + 1) % 3;
}

void HAL_ADC_ConvHalfCpltCallback(ADC_HandleTypeDef *hadc)
{
	ADCbuff_Half = 1;

}

/* USER CODE END 4 */

void Error_Handler(void)
{
  /* USER CODE BEGIN Error_Handler_Debug */
  /* User can add his own implementation to report the HAL error return state */
	 HAL_GPIO_WritePin(GPIOB, LD3_Pin, GPIO_PIN_SET);
  /* USER CODE END Error_Handler_Debug */
}

/************************ (C) COPYRIGHT STMicroelectronics *****END OF FILE****/
